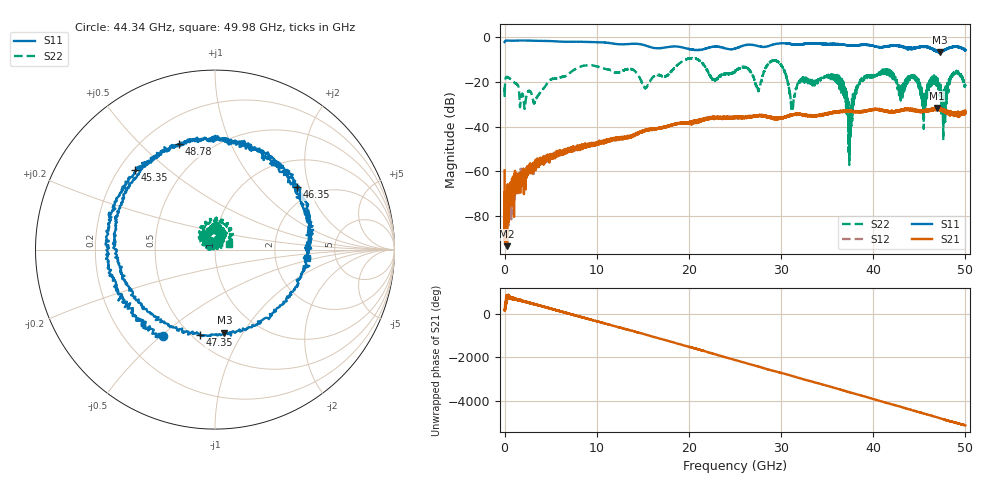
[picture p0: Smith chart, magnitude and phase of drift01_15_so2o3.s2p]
!Created with skrf (http://scikit-rf.org).
# Hz S RI R 50.0
!freq ReS11 ImS11 ReS21 ImS21 ReS12 ImS12 ReS22 ImS22
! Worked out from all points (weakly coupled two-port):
!   10001 points, 300 kHz to 50 GHz, reference 50 ohm
!   highest |S21| = -31.57 dB at 46.89 GHz (marker M1); lowest = -93.6 dB at 270.3 MHz (marker M2)
!   lowest |S11| = -6.6 dB at 47.24 GHz (marker M3), VSWR 2.74, Z = 35.2 - j41.6 ohm
!   |S11| at or under -10 dB: nowhere
!   |S22| runs from -57.2 to -9.2 dB; largest |S21 - S12| = 0.0037
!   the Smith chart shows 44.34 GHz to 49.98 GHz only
!   S11 on the Smith chart (normalised r, x): 44.34 GHz: 0.36, -0.51; 45.35 GHz: 0.27, +0.39; 46.35 GHz: 1.61, +1.66; 47.35 GHz: 0.55, -0.68; 48.78 GHz: 0.34, +0.66; 49.98 GHz: 3.05, -0.38
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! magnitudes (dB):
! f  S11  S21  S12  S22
! 300 kHz  -2.1  -59.6  -59.7  -22.5
! 270.3 MHz  -1.4  -93.6  -76.2  -17.7
! 3.285 GHz  -1.5  -56.8  -57.7  -28.9
! 8.335 GHz  -2.0  -48.8  -49.0  -12.9
! 16.67 GHz  -4.8  -40.8  -40.8  -16.7
! 25 GHz  -5.0  -36.2  -35.8  -15.3
! 29.58 GHz  -2.8  -36.5  -36.7  -10.7
! 31.23 GHz  -3.1  -34.5  -34.6  -31.0
! 33.34 GHz  -2.6  -35.3  -35.1  -20.4
! 36.08 GHz  -3.1  -33.3  -33.4  -18.1
! 37.52 GHz  -3.6  -33.3  -33.4  -37.1
! 38.67 GHz  -3.3  -33.2  -33.3  -19.9
! 41.67 GHz  -3.9  -33.3  -33.3  -15.5
! 44.34 GHz  -5.0  -32.7  -32.6  -17.5
! 45.35 GHz  -4.1  -33.4  -33.2  -26.6
! 46.35 GHz  -4.8  -32.3  -32.5  -20.1
! 46.89 GHz  -6.2  -31.6  -32.1  -21.7
! 47.24 GHz  -6.6  -32.4  -32.0  -26.4
! 47.35 GHz  -6.3  -32.0  -32.2  -24.5
! 48.78 GHz  -4.1  -34.9  -34.8  -16.3
! 49.98 GHz  -5.8  -32.6  -34.0  -21.6
! 50 GHz  -5.7  -33.8  -33.2  -21.7
